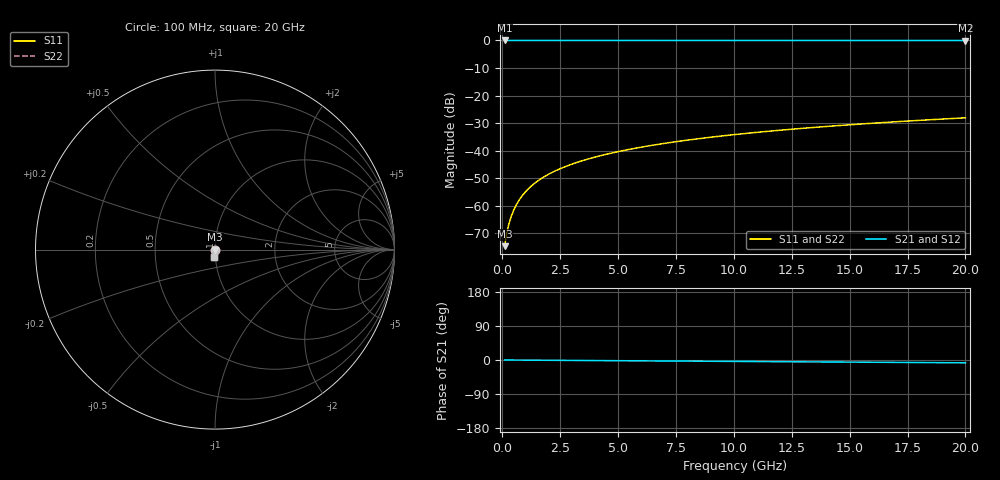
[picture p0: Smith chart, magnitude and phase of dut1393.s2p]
! Touchstone file exported from HFSS 2026.1.0
!  File:  C:/ffzhzh/LocalFiles/Ansys_Project_Files/temp_train_TSV_1393_1783196703_55132.aedt
!  Generated:  04:26:28 AM Jul  5, 2026
!  Design:  TSV
!  Project:  temp_train_TSV_1393_1783196703_55132
! Variables:
!  h_bsmrdl = 2um
!  h_ox = 20um
!  h_rdl = 5um
!  h_sub = 73.09um
!  h_tmrdl = 5um
!  h_tsv = 73.09um
!  h_via = 3um
!  l_bsmrdl = 300um
!  l_sub = 423.1um
!  l_tmrdl = 200um
!  m_sub = 200um
!  pitch = 35.14um
!  r_tsv = 11.55um
!  s_tmrdl = 10um
!  w_bsmrdl = 18um
!  w_sub = 500um
!  w_tmrdl = 12um
!  x_tsv_center1 = 206um
!  x_tsv_center2 = 524um
!  x_tsv_center3 = 736um
!  x_tsv_center4 = 1054um
!  x_tsv_center5 = 1266um
!  x_tsv_center6 = 1584um
# GHz S MA R 50.000000
! Terminal data exported
! Port[1] = TSV1_1_T1
! Port[2] = TSV1_1_T2
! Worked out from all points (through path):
!   200 points, 100 MHz to 20 GHz, reference 50 ohm
!   highest |S21| = 0.00 dB at 100 MHz (marker M1); lowest = 0.0 dB at 20 GHz (marker M2)
!   group delay of S21, straight-line fit = 1.03 ps
!   lowest |S11| = -74.7 dB at 100 MHz (marker M3), VSWR 1.00, Z = 50 - j0.0153 ohm
!   |S11| at or under -10 dB: start of sweep to end of sweep
!   |S22| runs from -74.7 to -28.1 dB; largest |S21 - S12| = 2e-15
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0.1  0.0001842 -56.2  0.9999 -0.0  0.9999 -0.0  0.0001842 -56.2
! Gamma 0 0 0 0
! Port Impedance 50 0 50 0
0.2  0.0003309 -69.5  0.9999 -0.1  0.9999 -0.1  0.0003309 -69.5
0.3  0.000492 -74.0  0.9999 -0.1  0.9999 -0.1  0.000492 -74.0
0.4  0.0006624 -76.1  0.9998 -0.2  0.9998 -0.2  0.0006624 -76.1
0.5  0.00084 -77.4  0.9998 -0.2  0.9998 -0.2  0.00084 -77.4
0.7  0.00121 -79.2  0.9998 -0.3  0.9998 -0.3  0.00121 -79.2
0.8  0.0014 -79.9  0.9997 -0.3  0.9997 -0.3  0.0014 -79.9
1  0.001785 -81.1  0.9997 -0.4  0.9997 -0.4  0.001785 -81.1
1.2  0.002172 -82.1  0.9997 -0.5  0.9997 -0.5  0.002172 -82.1
1.4  0.002561 -83.0  0.9997 -0.5  0.9997 -0.5  0.002561 -83.0
1.7  0.003144 -84.0  0.9996 -0.6  0.9996 -0.6  0.003144 -84.0
2  0.003726 -84.8  0.9996 -0.8  0.9996 -0.8  0.003726 -84.8
2.7  0.005086 -86.1  0.9995 -1.0  0.9995 -1.0  0.005086 -86.1
3.5  0.006645 -87.1  0.9995 -1.3  0.9995 -1.3  0.006645 -87.1
4.2  0.008015 -87.7  0.9994 -1.6  0.9994 -1.6  0.008015 -87.7
5  0.009587 -88.3  0.9994 -1.9  0.9994 -1.9  0.009587 -88.3
6.8  0.01314 -89.5  0.9992 -2.5  0.9992 -2.5  0.01314 -89.5
8.3  0.01612 -90.3  0.9991 -3.1  0.9991 -3.1  0.01612 -90.3
10.1  0.0197 -91.3  0.999 -3.8  0.999 -3.8  0.0197 -91.3
13.4  0.02627 -92.8  0.9987 -5.0  0.9987 -5.0  0.02627 -92.8
16.7  0.03284 -94.3  0.9984 -6.2  0.9984 -6.2  0.03284 -94.3
20  0.03941 -95.7  0.998 -7.4  0.998 -7.4  0.03941 -95.7
